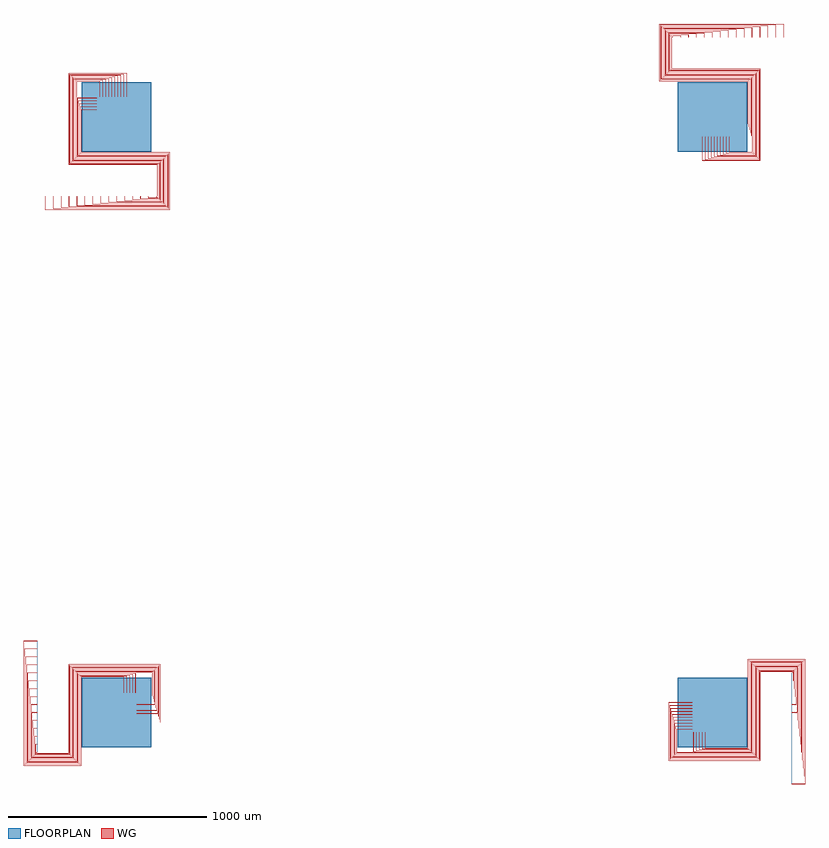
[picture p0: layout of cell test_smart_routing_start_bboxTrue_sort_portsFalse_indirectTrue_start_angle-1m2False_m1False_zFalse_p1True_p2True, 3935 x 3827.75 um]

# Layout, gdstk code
import gdstk
lib = gdstk.Library(unit=1e-6, precision=1e-09)
def R(c, l, rs):  # rectangles x0, y0, x1, y1
    for r in rs: c.add(gdstk.rectangle(r[:2], r[2:], *l))
def P(c, l, *ps):  # polygons
    for p in ps: c.add(gdstk.Polygon(p, *l))
WG = (1, 0)
FLOORPLAN = (10, 0)

test_smart_routing_start = lib.new_cell('test_smart_routing_start_bboxTrue_sort_portsFalse_indirectTrue_start_angle-1m2False_m1False_zFalse_p1True_p2True')
P(test_smart_routing_start, WG, [(2949.75,2780),(2949.75,2900),(2949.95,2900),(2949.95,2780.2),(3242.3,2780.2),(3242.3,3242.3),(2795.55,3242.3),(2795.55,3404.2),(2799.95,3404.2),(2799.95,3400),(2799.75,3400),(2799.75,3404),(2795.75,3404),(2795.75,3242.5),(3242.5,3242.5),(3242.5,2780)],
  [(2950.05,2780.3),(2950.05,2900),(2950.25,2900),(2950.25,2780.5),(3242,2780.5),(3242,3242),(2795.25,3242),(2795.25,3404.5),(2800.25,3404.5),(2800.25,3400),(2800.05,3400),(2800.05,3404.3),(2795.45,3404.3),(2795.45,3242.2),(3242.2,3242.2),(3242.2,2780.3)],
  [(2964.75,2784.5),(2964.75,2900),(2964.95,2900),(2964.95,2784.7),(3237.8,2784.7),(3237.8,3237.8),(2791.05,3237.8),(2791.05,3408.7),(2839.95,3408.7),(2839.95,3400),(2839.75,3400),(2839.75,3408.5),(2791.25,3408.5),(2791.25,3238),(3238,3238),(3238,2784.5)],
  [(2965.05,2784.8),(2965.05,2900),(2965.25,2900),(2965.25,2785),(3237.5,2785),(3237.5,3237.5),(2790.75,3237.5),(2790.75,3409),(2840.25,3409),(2840.25,3400),(2840.05,3400),(2840.05,3408.8),(2790.95,3408.8),(2790.95,3237.7),(3237.7,3237.7),(3237.7,2784.8)],
  [(2979.75,2789),(2979.75,2900),(2979.95,2900),(2979.95,2789.2),(3233.3,2789.2),(3233.3,3233.3),(2786.55,3233.3),(2786.55,3413.2),(2879.95,3413.2),(2879.95,3400),(2879.75,3400),(2879.75,3413),(2786.75,3413),(2786.75,3233.5),(3233.5,3233.5),(3233.5,2789)],
  [(2980.05,2789.3),(2980.05,2900),(2980.25,2900),(2980.25,2789.5),(3233,2789.5),(3233,3233),(2786.25,3233),(2786.25,3413.5),(2880.25,3413.5),(2880.25,3400),(2880.05,3400),(2880.05,3413.3),(2786.45,3413.3),(2786.45,3233.2),(3233.2,3233.2),(3233.2,2789.3)],
  [(2994.75,2793.5),(2994.75,2900),(2994.95,2900),(2994.95,2793.7),(3228.8,2793.7),(3228.8,3228.8),(2782.05,3228.8),(2782.05,3417.7),(2919.95,3417.7),(2919.95,3400),(2919.75,3400),(2919.75,3417.5),(2782.25,3417.5),(2782.25,3229),(3229,3229),(3229,2793.5)],
  [(2995.05,2793.8),(2995.05,2900),(2995.25,2900),(2995.25,2794),(3228.5,2794),(3228.5,3228.5),(2781.75,3228.5),(2781.75,3418),(2920.25,3418),(2920.25,3400),(2920.05,3400),(2920.05,3417.8),(2781.95,3417.8),(2781.95,3228.7),(3228.7,3228.7),(3228.7,2793.8)],
  [(3009.75,2798),(3009.75,2900),(3009.95,2900),(3009.95,2798.2),(3224.3,2798.2),(3224.3,3224.3),(2777.55,3224.3),(2777.55,3422.2),(2959.95,3422.2),(2959.95,3400),(2959.75,3400),(2959.75,3422),(2777.75,3422),(2777.75,3224.5),(3224.5,3224.5),(3224.5,2798)],
  [(3010.05,2798.3),(3010.05,2900),(3010.25,2900),(3010.25,2798.5),(3224,2798.5),(3224,3224),(2777.25,3224),(2777.25,3422.5),(2960.25,3422.5),(2960.25,3400),(2960.05,3400),(2960.05,3422.3),(2777.45,3422.3),(2777.45,3224.2),(3224.2,3224.2),(3224.2,2798.3)],
  [(3024.75,2802.5),(3024.75,2900),(3024.95,2900),(3024.95,2802.7),(3219.8,2802.7),(3219.8,3219.8),(2773.05,3219.8),(2773.05,3426.7),(2999.95,3426.7),(2999.95,3400),(2999.75,3400),(2999.75,3426.5),(2773.25,3426.5),(2773.25,3220),(3220,3220),(3220,2802.5)],
  [(3025.05,2802.8),(3025.05,2900),(3025.25,2900),(3025.25,2803),(3219.5,2803),(3219.5,3219.5),(2772.75,3219.5),(2772.75,3427),(3000.25,3427),(3000.25,3400),(3000.05,3400),(3000.05,3426.8),(2772.95,3426.8),(2772.95,3219.7),(3219.7,3219.7),(3219.7,2802.8)],
  [(3039.75,2807),(3039.75,2900),(3039.95,2900),(3039.95,2807.2),(3215.3,2807.2),(3215.3,3215.3),(2768.55,3215.3),(2768.55,3431.2),(3039.95,3431.2),(3039.95,3400),(3039.75,3400),(3039.75,3431),(2768.75,3431),(2768.75,3215.5),(3215.5,3215.5),(3215.5,2807)],
  [(3040.05,2807.3),(3040.05,2900),(3040.25,2900),(3040.25,2807.5),(3215,2807.5),(3215,3215),(2768.25,3215),(2768.25,3431.5),(3040.25,3431.5),(3040.25,3400),(3040.05,3400),(3040.05,3431.3),(2768.45,3431.3),(2768.45,3215.2),(3215.2,3215.2),(3215.2,2807.3)],
  [(3054.75,2811.5),(3054.75,2900),(3054.95,2900),(3054.95,2811.7),(3210.8,2811.7),(3210.8,3210.8),(2764.05,3210.8),(2764.05,3435.7),(3079.95,3435.7),(3079.95,3400),(3079.75,3400),(3079.75,3435.5),(2764.25,3435.5),(2764.25,3211),(3211,3211),(3211,2811.5)],
  [(3055.05,2811.8),(3055.05,2900),(3055.25,2900),(3055.25,2812),(3210.5,2812),(3210.5,3210.5),(2763.75,3210.5),(2763.75,3436),(3080.25,3436),(3080.25,3400),(3080.05,3400),(3080.05,3435.8),(2763.95,3435.8),(2763.95,3210.7),(3210.7,3210.7),(3210.7,2811.8)],
  [(3069.75,2816),(3069.75,2900),(3069.95,2900),(3069.95,2816.2),(3206.3,2816.2),(3206.3,3206.3),(2759.55,3206.3),(2759.55,3440.2),(3119.95,3440.2),(3119.95,3400),(3119.75,3400),(3119.75,3440),(2759.75,3440),(2759.75,3206.5),(3206.5,3206.5),(3206.5,2816)],
  [(3070.05,2816.3),(3070.05,2900),(3070.25,2900),(3070.25,2816.5),(3206,2816.5),(3206,3206),(2759.25,3206),(2759.25,3440.5),(3120.25,3440.5),(3120.25,3400),(3120.05,3400),(3120.05,3440.3),(2759.45,3440.3),(2759.45,3206.2),(3206.2,3206.2),(3206.2,2816.3)],
  [(3084.75,2820.5),(3084.75,2900),(3084.95,2900),(3084.95,2820.7),(3201.8,2820.7),(3201.8,3201.8),(2755.05,3201.8),(2755.05,3444.7),(3159.95,3444.7),(3159.95,3400),(3159.75,3400),(3159.75,3444.5),(2755.25,3444.5),(2755.25,3202),(3202,3202),(3202,2820.5)],
  [(3085.05,2820.8),(3085.05,2900),(3085.25,2900),(3085.25,2821),(3201.5,2821),(3201.5,3201.5),(2754.75,3201.5),(2754.75,3445),(3160.25,3445),(3160.25,3400),(3160.05,3400),(3160.05,3444.8),(2754.95,3444.8),(2754.95,3201.7),(3201.7,3201.7),(3201.7,2820.8)],
  [(3100,2964.75),(3100,2964.95),(3179.3,2964.95),(3179.3,3179.3),(2732.55,3179.3),(2732.55,3467.2),(3359.95,3467.2),(3359.95,3400),(3359.75,3400),(3359.75,3467),(2732.75,3467),(2732.75,3179.5),(3179.5,3179.5),(3179.5,2964.75)],
  [(3100,2965.05),(3100,2965.25),(3179,2965.25),(3179,3179),(2732.25,3179),(2732.25,3467.5),(3360.25,3467.5),(3360.25,3400),(3360.05,3400),(3360.05,3467.3),(2732.45,3467.3),(2732.45,3179.2),(3179.2,3179.2),(3179.2,2965.05)],
  [(3100,2949.75),(3100,2949.95),(3183.8,2949.95),(3183.8,3183.8),(2737.05,3183.8),(2737.05,3462.7),(3319.95,3462.7),(3319.95,3400),(3319.75,3400),(3319.75,3462.5),(2737.25,3462.5),(2737.25,3184),(3184,3184),(3184,2949.75)],
  [(3100,2950.05),(3100,2950.25),(3183.5,2950.25),(3183.5,3183.5),(2736.75,3183.5),(2736.75,3463),(3320.25,3463),(3320.25,3400),(3320.05,3400),(3320.05,3462.8),(2736.95,3462.8),(2736.95,3183.7),(3183.7,3183.7),(3183.7,2950.05)],
  [(3100,2934.75),(3100,2934.95),(3188.3,2934.95),(3188.3,3188.3),(2741.55,3188.3),(2741.55,3458.2),(3279.95,3458.2),(3279.95,3400),(3279.75,3400),(3279.75,3458),(2741.75,3458),(2741.75,3188.5),(3188.5,3188.5),(3188.5,2934.75)],
  [(3100,2935.05),(3100,2935.25),(3188,2935.25),(3188,3188),(2741.25,3188),(2741.25,3458.5),(3280.25,3458.5),(3280.25,3400),(3280.05,3400),(3280.05,3458.3),(2741.45,3458.3),(2741.45,3188.2),(3188.2,3188.2),(3188.2,2935.05)],
  [(3100,2919.75),(3100,2919.95),(3192.8,2919.95),(3192.8,3192.8),(2746.05,3192.8),(2746.05,3453.7),(3239.95,3453.7),(3239.95,3400),(3239.75,3400),(3239.75,3453.5),(2746.25,3453.5),(2746.25,3193),(3193,3193),(3193,2919.75)],
  [(3100,2920.05),(3100,2920.25),(3192.5,2920.25),(3192.5,3192.5),(2745.75,3192.5),(2745.75,3454),(3240.25,3454),(3240.25,3400),(3240.05,3400),(3240.05,3453.8),(2745.95,3453.8),(2745.95,3192.7),(3192.7,3192.7),(3192.7,2920.05)],
  [(3100,2904.75),(3100,2904.95),(3197.3,2904.95),(3197.3,3197.3),(2750.55,3197.3),(2750.55,3449.2),(3199.95,3449.2),(3199.95,3400),(3199.75,3400),(3199.75,3449),(2750.75,3449),(2750.75,3197.5),(3197.5,3197.5),(3197.5,2904.75)],
  [(3100,2905.05),(3100,2905.25),(3197,2905.25),(3197,3197),(2750.25,3197),(2750.25,3449.5),(3200.25,3449.5),(3200.25,3400),(3200.05,3400),(3200.05,3449.3),(2750.45,3449.3),(2750.45,3197.2),(3197.2,3197.2),(3197.2,2905.05)],
  [(199.75,2595.5),(199.75,2600),(199.95,2600),(199.95,2595.7),(204.55,2595.7),(204.55,2757.8),(-242.2,2757.8),(-242.2,3219.7),(49.95,3219.7),(49.95,3100),(49.75,3100),(49.75,3219.5),(-242,3219.5),(-242,2758),(204.75,2758),(204.75,2595.5)],
  [(200.05,2595.8),(200.05,2600),(200.25,2600),(200.25,2596),(204.25,2596),(204.25,2757.5),(-242.5,2757.5),(-242.5,3220),(50.25,3220),(50.25,3100),(50.05,3100),(50.05,3219.8),(-242.3,3219.8),(-242.3,2757.7),(204.45,2757.7),(204.45,2595.8)],
  [(159.75,2591),(159.75,2600),(159.95,2600),(159.95,2591.2),(209.05,2591.2),(209.05,2762.3),(-237.7,2762.3),(-237.7,3215.2),(34.95,3215.2),(34.95,3100),(34.75,3100),(34.75,3215),(-237.5,3215),(-237.5,2762.5),(209.25,2762.5),(209.25,2591)],
  [(160.05,2591.3),(160.05,2600),(160.25,2600),(160.25,2591.5),(208.75,2591.5),(208.75,2762),(-238,2762),(-238,3215.5),(35.25,3215.5),(35.25,3100),(35.05,3100),(35.05,3215.3),(-237.8,3215.3),(-237.8,2762.2),(208.95,2762.2),(208.95,2591.3)],
  [(119.75,2586.5),(119.75,2600),(119.95,2600),(119.95,2586.7),(213.55,2586.7),(213.55,2766.8),(-233.2,2766.8),(-233.2,3210.7),(19.95,3210.7),(19.95,3100),(19.75,3100),(19.75,3210.5),(-233,3210.5),(-233,2767),(213.75,2767),(213.75,2586.5)],
  [(120.05,2586.8),(120.05,2600),(120.25,2600),(120.25,2587),(213.25,2587),(213.25,2766.5),(-233.5,2766.5),(-233.5,3211),(20.25,3211),(20.25,3100),(20.05,3100),(20.05,3210.8),(-233.3,3210.8),(-233.3,2766.7),(213.45,2766.7),(213.45,2586.8)],
  [(79.75,2582),(79.75,2600),(79.95,2600),(79.95,2582.2),(218.05,2582.2),(218.05,2771.3),(-228.7,2771.3),(-228.7,3206.2),(4.95,3206.2),(4.95,3100),(4.75,3100),(4.75,3206),(-228.5,3206),(-228.5,2771.5),(218.25,2771.5),(218.25,2582)],
  [(80.05,2582.3),(80.05,2600),(80.25,2600),(80.25,2582.5),(217.75,2582.5),(217.75,2771),(-229,2771),(-229,3206.5),(5.25,3206.5),(5.25,3100),(5.05,3100),(5.05,3206.3),(-228.8,3206.3),(-228.8,2771.2),(217.95,2771.2),(217.95,2582.3)],
  [(39.75,2577.5),(39.75,2600),(39.95,2600),(39.95,2577.7),(222.55,2577.7),(222.55,2775.8),(-224.2,2775.8),(-224.2,3201.7),(-10.05,3201.7),(-10.05,3100),(-10.25,3100),(-10.25,3201.5),(-224,3201.5),(-224,2776),(222.75,2776),(222.75,2577.5)],
  [(40.05,2577.8),(40.05,2600),(40.25,2600),(40.25,2578),(222.25,2578),(222.25,2775.5),(-224.5,2775.5),(-224.5,3202),(-9.75,3202),(-9.75,3100),(-9.95,3100),(-9.95,3201.8),(-224.3,3201.8),(-224.3,2775.7),(222.45,2775.7),(222.45,2577.8)],
  [(-0.25,2573),(-0.25,2600),(-0.05,2600),(-0.05,2573.2),(227.05,2573.2),(227.05,2780.3),(-219.7,2780.3),(-219.7,3197.2),(-25.05,3197.2),(-25.05,3100),(-25.25,3100),(-25.25,3197),(-219.5,3197),(-219.5,2780.5),(227.25,2780.5),(227.25,2573)],
  [(0.05,2573.3),(0.05,2600),(0.25,2600),(0.25,2573.5),(226.75,2573.5),(226.75,2780),(-220,2780),(-220,3197.5),(-24.75,3197.5),(-24.75,3100),(-24.95,3100),(-24.95,3197.3),(-219.8,3197.3),(-219.8,2780.2),(226.95,2780.2),(226.95,2573.3)],
  [(-40.25,2568.5),(-40.25,2600),(-40.05,2600),(-40.05,2568.7),(231.55,2568.7),(231.55,2784.8),(-215.2,2784.8),(-215.2,3192.7),(-40.05,3192.7),(-40.05,3100),(-40.25,3100),(-40.25,3192.5),(-215,3192.5),(-215,2785),(231.75,2785),(231.75,2568.5)],
  [(-39.95,2568.8),(-39.95,2600),(-39.75,2600),(-39.75,2569),(231.25,2569),(231.25,2784.5),(-215.5,2784.5),(-215.5,3193),(-39.75,3193),(-39.75,3100),(-39.95,3100),(-39.95,3192.8),(-215.3,3192.8),(-215.3,2784.7),(231.45,2784.7),(231.45,2568.8)],
  [(-80.25,2564),(-80.25,2600),(-80.05,2600),(-80.05,2564.2),(236.05,2564.2),(236.05,2789.3),(-210.7,2789.3),(-210.7,3188.2),(-55.05,3188.2),(-55.05,3100),(-55.25,3100),(-55.25,3188),(-210.5,3188),(-210.5,2789.5),(236.25,2789.5),(236.25,2564)],
  [(-79.95,2564.3),(-79.95,2600),(-79.75,2600),(-79.75,2564.5),(235.75,2564.5),(235.75,2789),(-211,2789),(-211,3188.5),(-54.75,3188.5),(-54.75,3100),(-54.95,3100),(-54.95,3188.3),(-210.8,3188.3),(-210.8,2789.2),(235.95,2789.2),(235.95,2564.3)],
  [(-120.25,2559.5),(-120.25,2600),(-120.05,2600),(-120.05,2559.7),(240.55,2559.7),(240.55,2793.8),(-206.2,2793.8),(-206.2,3183.7),(-70.05,3183.7),(-70.05,3100),(-70.25,3100),(-70.25,3183.5),(-206,3183.5),(-206,2794),(240.75,2794),(240.75,2559.5)],
  [(-119.95,2559.8),(-119.95,2600),(-119.75,2600),(-119.75,2560),(240.25,2560),(240.25,2793.5),(-206.5,2793.5),(-206.5,3184),(-69.75,3184),(-69.75,3100),(-69.95,3100),(-69.95,3183.8),(-206.3,3183.8),(-206.3,2793.7),(240.45,2793.7),(240.45,2559.8)],
  [(-160.25,2555),(-160.25,2600),(-160.05,2600),(-160.05,2555.2),(245.05,2555.2),(245.05,2798.3),(-201.7,2798.3),(-201.7,3179.2),(-85.05,3179.2),(-85.05,3100),(-85.25,3100),(-85.25,3179),(-201.5,3179),(-201.5,2798.5),(245.25,2798.5),(245.25,2555)],
  [(-159.95,2555.3),(-159.95,2600),(-159.75,2600),(-159.75,2555.5),(244.75,2555.5),(244.75,2798),(-202,2798),(-202,3179.5),(-84.75,3179.5),(-84.75,3100),(-84.95,3100),(-84.95,3179.3),(-201.8,3179.3),(-201.8,2798.2),(244.95,2798.2),(244.95,2555.3)],
  [(-360.25,2532.5),(-360.25,2600),(-360.05,2600),(-360.05,2532.7),(267.55,2532.7),(267.55,2820.8),(-179.2,2820.8),(-179.2,3034.95),(-100,3034.95),(-100,3034.75),(-179,3034.75),(-179,2821),(267.75,2821),(267.75,2532.5)],
  [(-359.95,2532.8),(-359.95,2600),(-359.75,2600),(-359.75,2533),(267.25,2533),(267.25,2820.5),(-179.5,2820.5),(-179.5,3035.25),(-100,3035.25),(-100,3035.05),(-179.3,3035.05),(-179.3,2820.7),(267.45,2820.7),(267.45,2532.8)],
  [(-320.25,2537),(-320.25,2600),(-320.05,2600),(-320.05,2537.2),(263.05,2537.2),(263.05,2816.3),(-183.7,2816.3),(-183.7,3049.95),(-100,3049.95),(-100,3049.75),(-183.5,3049.75),(-183.5,2816.5),(263.25,2816.5),(263.25,2537)],
  [(-319.95,2537.3),(-319.95,2600),(-319.75,2600),(-319.75,2537.5),(262.75,2537.5),(262.75,2816),(-184,2816),(-184,3050.25),(-100,3050.25),(-100,3050.05),(-183.8,3050.05),(-183.8,2816.2),(262.95,2816.2),(262.95,2537.3)],
  [(-280.25,2541.5),(-280.25,2600),(-280.05,2600),(-280.05,2541.7),(258.55,2541.7),(258.55,2811.8),(-188.2,2811.8),(-188.2,3064.95),(-100,3064.95),(-100,3064.75),(-188,3064.75),(-188,2812),(258.75,2812),(258.75,2541.5)],
  [(-279.95,2541.8),(-279.95,2600),(-279.75,2600),(-279.75,2542),(258.25,2542),(258.25,2811.5),(-188.5,2811.5),(-188.5,3065.25),(-100,3065.25),(-100,3065.05),(-188.3,3065.05),(-188.3,2811.7),(258.45,2811.7),(258.45,2541.8)],
  [(-240.25,2546),(-240.25,2600),(-240.05,2600),(-240.05,2546.2),(254.05,2546.2),(254.05,2807.3),(-192.7,2807.3),(-192.7,3079.95),(-100,3079.95),(-100,3079.75),(-192.5,3079.75),(-192.5,2807.5),(254.25,2807.5),(254.25,2546)],
  [(-239.95,2546.3),(-239.95,2600),(-239.75,2600),(-239.75,2546.5),(253.75,2546.5),(253.75,2807),(-193,2807),(-193,3080.25),(-100,3080.25),(-100,3080.05),(-192.8,3080.05),(-192.8,2807.2),(253.95,2807.2),(253.95,2546.3)],
  [(-200.25,2550.5),(-200.25,2600),(-200.05,2600),(-200.05,2550.7),(249.55,2550.7),(249.55,2802.8),(-197.2,2802.8),(-197.2,3094.95),(-100,3094.95),(-100,3094.75),(-197,3094.75),(-197,2803),(249.75,2803),(249.75,2550.5)],
  [(-199.95,2550.8),(-199.95,2600),(-199.75,2600),(-199.75,2551),(249.25,2551),(249.25,2802.5),(-197.5,2802.5),(-197.5,3095.25),(-100,3095.25),(-100,3095.05),(-197.3,3095.05),(-197.3,2802.7),(249.45,2802.7),(249.45,2550.8)],
  [(-404.5,-204.75),(-404.5,-199.75),(-400,-199.75),(-400,-199.95),(-404.3,-199.95),(-404.3,-204.55),(-242.2,-204.55),(-242.2,242.2),(219.7,242.2),(219.7,-49.95),(100,-49.95),(100,-49.75),(219.5,-49.75),(219.5,242),(-242,242),(-242,-204.75)],
  [(-404.2,-204.45),(-404.2,-200.05),(-400,-200.05),(-400,-200.25),(-404,-200.25),(-404,-204.25),(-242.5,-204.25),(-242.5,242.5),(220,242.5),(220,-50.25),(100,-50.25),(100,-50.05),(219.8,-50.05),(219.8,242.3),(-242.3,242.3),(-242.3,-204.45)],
  [(-409,-209.25),(-409,-159.75),(-400,-159.75),(-400,-159.95),(-408.8,-159.95),(-408.8,-209.05),(-237.7,-209.05),(-237.7,237.7),(215.2,237.7),(215.2,-34.95),(100,-34.95),(100,-34.75),(215,-34.75),(215,237.5),(-237.5,237.5),(-237.5,-209.25)],
  [(-408.7,-208.95),(-408.7,-160.05),(-400,-160.05),(-400,-160.25),(-408.5,-160.25),(-408.5,-208.75),(-238,-208.75),(-238,238),(215.5,238),(215.5,-35.25),(100,-35.25),(100,-35.05),(215.3,-35.05),(215.3,237.8),(-237.8,237.8),(-237.8,-208.95)],
  [(-413.5,-213.75),(-413.5,-119.75),(-400,-119.75),(-400,-119.95),(-413.3,-119.95),(-413.3,-213.55),(-233.2,-213.55),(-233.2,233.2),(210.7,233.2),(210.7,-19.95),(100,-19.95),(100,-19.75),(210.5,-19.75),(210.5,233),(-233,233),(-233,-213.75)],
  [(-413.2,-213.45),(-413.2,-120.05),(-400,-120.05),(-400,-120.25),(-413,-120.25),(-413,-213.25),(-233.5,-213.25),(-233.5,233.5),(211,233.5),(211,-20.25),(100,-20.25),(100,-20.05),(210.8,-20.05),(210.8,233.3),(-233.3,233.3),(-233.3,-213.45)],
  [(-418,-218.25),(-418,-79.75),(-400,-79.75),(-400,-79.95),(-417.8,-79.95),(-417.8,-218.05),(-228.7,-218.05),(-228.7,228.7),(206.2,228.7),(206.2,-4.95),(100,-4.95),(100,-4.75),(206,-4.75),(206,228.5),(-228.5,228.5),(-228.5,-218.25)],
  [(-417.7,-217.95),(-417.7,-80.05),(-400,-80.05),(-400,-80.25),(-417.5,-80.25),(-417.5,-217.75),(-229,-217.75),(-229,229),(206.5,229),(206.5,-5.25),(100,-5.25),(100,-5.05),(206.3,-5.05),(206.3,228.8),(-228.8,228.8),(-228.8,-217.95)],
  [(-422.5,-222.75),(-422.5,-39.75),(-400,-39.75),(-400,-39.95),(-422.3,-39.95),(-422.3,-222.55),(-224.2,-222.55),(-224.2,224.2),(201.7,224.2),(201.7,10.05),(100,10.05),(100,10.25),(201.5,10.25),(201.5,224),(-224,224),(-224,-222.75)],
  [(-422.2,-222.45),(-422.2,-40.05),(-400,-40.05),(-400,-40.25),(-422,-40.25),(-422,-222.25),(-224.5,-222.25),(-224.5,224.5),(202,224.5),(202,9.75),(100,9.75),(100,9.95),(201.8,9.95),(201.8,224.3),(-224.3,224.3),(-224.3,-222.45)],
  [(-427,-227.25),(-427,0.25),(-400,0.25),(-400,0.05),(-426.8,0.05),(-426.8,-227.05),(-219.7,-227.05),(-219.7,219.7),(197.2,219.7),(197.2,25.05),(100,25.05),(100,25.25),(197,25.25),(197,219.5),(-219.5,219.5),(-219.5,-227.25)],
  [(-426.7,-226.95),(-426.7,-0.05),(-400,-0.05),(-400,-0.25),(-426.5,-0.25),(-426.5,-226.75),(-220,-226.75),(-220,220),(197.5,220),(197.5,24.75),(100,24.75),(100,24.95),(197.3,24.95),(197.3,219.8),(-219.8,219.8),(-219.8,-226.95)],
  [(-431.5,-231.75),(-431.5,40.25),(-400,40.25),(-400,40.05),(-431.3,40.05),(-431.3,-231.55),(-215.2,-231.55),(-215.2,215.2),(192.7,215.2),(192.7,40.05),(100,40.05),(100,40.25),(192.5,40.25),(192.5,215),(-215,215),(-215,-231.75)],
  [(-431.2,-231.45),(-431.2,39.95),(-400,39.95),(-400,39.75),(-431,39.75),(-431,-231.25),(-215.5,-231.25),(-215.5,215.5),(193,215.5),(193,39.75),(100,39.75),(100,39.95),(192.8,39.95),(192.8,215.3),(-215.3,215.3),(-215.3,-231.45)],
  [(-436,-236.25),(-436,80.25),(-400,80.25),(-400,80.05),(-435.8,80.05),(-435.8,-236.05),(-210.7,-236.05),(-210.7,210.7),(188.2,210.7),(188.2,55.05),(100,55.05),(100,55.25),(188,55.25),(188,210.5),(-210.5,210.5),(-210.5,-236.25)],
  [(-435.7,-235.95),(-435.7,79.95),(-400,79.95),(-400,79.75),(-435.5,79.75),(-435.5,-235.75),(-211,-235.75),(-211,211),(188.5,211),(188.5,54.75),(100,54.75),(100,54.95),(188.3,54.95),(188.3,210.8),(-210.8,210.8),(-210.8,-235.95)],
  [(-440.5,-240.75),(-440.5,120.25),(-400,120.25),(-400,120.05),(-440.3,120.05),(-440.3,-240.55),(-206.2,-240.55),(-206.2,206.2),(183.7,206.2),(183.7,70.05),(100,70.05),(100,70.25),(183.5,70.25),(183.5,206),(-206,206),(-206,-240.75)],
  [(-440.2,-240.45),(-440.2,119.95),(-400,119.95),(-400,119.75),(-440,119.75),(-440,-240.25),(-206.5,-240.25),(-206.5,206.5),(184,206.5),(184,69.75),(100,69.75),(100,69.95),(183.8,69.95),(183.8,206.3),(-206.3,206.3),(-206.3,-240.45)],
  [(-445,-245.25),(-445,160.25),(-400,160.25),(-400,160.05),(-444.8,160.05),(-444.8,-245.05),(-201.7,-245.05),(-201.7,201.7),(179.2,201.7),(179.2,85.05),(100,85.05),(100,85.25),(179,85.25),(179,201.5),(-201.5,201.5),(-201.5,-245.25)],
  [(-444.7,-244.95),(-444.7,159.95),(-400,159.95),(-400,159.75),(-444.5,159.75),(-444.5,-244.75),(-202,-244.75),(-202,202),(179.5,202),(179.5,84.75),(100,84.75),(100,84.95),(179.3,84.95),(179.3,201.8),(-201.8,201.8),(-201.8,-244.95)],
  [(-467.2,-267.45),(-467.2,359.95),(-400,359.95),(-400,359.75),(-467,359.75),(-467,-267.25),(-179.5,-267.25),(-179.5,179.5),(35.25,179.5),(35.25,100),(35.05,100),(35.05,179.3),(-179.3,179.3),(-179.3,-267.45)],
  [(-467.5,-267.75),(-467.5,360.25),(-400,360.25),(-400,360.05),(-467.3,360.05),(-467.3,-267.55),(-179.2,-267.55),(-179.2,179.2),(34.95,179.2),(34.95,100),(34.75,100),(34.75,179),(-179,179),(-179,-267.75)],
  [(-462.7,-262.95),(-462.7,319.95),(-400,319.95),(-400,319.75),(-462.5,319.75),(-462.5,-262.75),(-184,-262.75),(-184,184),(50.25,184),(50.25,100),(50.05,100),(50.05,183.8),(-183.8,183.8),(-183.8,-262.95)],
  [(-463,-263.25),(-463,320.25),(-400,320.25),(-400,320.05),(-462.8,320.05),(-462.8,-263.05),(-183.7,-263.05),(-183.7,183.7),(49.95,183.7),(49.95,100),(49.75,100),(49.75,183.5),(-183.5,183.5),(-183.5,-263.25)],
  [(-458.2,-258.45),(-458.2,279.95),(-400,279.95),(-400,279.75),(-458,279.75),(-458,-258.25),(-188.5,-258.25),(-188.5,188.5),(65.25,188.5),(65.25,100),(65.05,100),(65.05,188.3),(-188.3,188.3),(-188.3,-258.45)],
  [(-458.5,-258.75),(-458.5,280.25),(-400,280.25),(-400,280.05),(-458.3,280.05),(-458.3,-258.55),(-188.2,-258.55),(-188.2,188.2),(64.95,188.2),(64.95,100),(64.75,100),(64.75,188),(-188,188),(-188,-258.75)],
  [(-453.7,-253.95),(-453.7,239.95),(-400,239.95),(-400,239.75),(-453.5,239.75),(-453.5,-253.75),(-193,-253.75),(-193,193),(80.25,193),(80.25,100),(80.05,100),(80.05,192.8),(-192.8,192.8),(-192.8,-253.95)],
  [(-454,-254.25),(-454,240.25),(-400,240.25),(-400,240.05),(-453.8,240.05),(-453.8,-254.05),(-192.7,-254.05),(-192.7,192.7),(79.95,192.7),(79.95,100),(79.75,100),(79.75,192.5),(-192.5,192.5),(-192.5,-254.25)],
  [(-449.2,-249.45),(-449.2,199.95),(-400,199.95),(-400,199.75),(-449,199.75),(-449,-249.25),(-197.5,-249.25),(-197.5,197.5),(95.25,197.5),(95.25,100),(95.05,100),(95.05,197.3),(-197.3,197.3),(-197.3,-249.45)],
  [(-449.5,-249.75),(-449.5,200.25),(-400,200.25),(-400,200.05),(-449.3,200.05),(-449.3,-249.55),(-197.2,-249.55),(-197.2,197.2),(94.95,197.2),(94.95,100),(94.75,100),(94.75,197),(-197,197),(-197,-249.75)],
  [(2780,-242.5),(2780,50.25),(2900,50.25),(2900,50.05),(2780.2,50.05),(2780.2,-242.3),(3242.3,-242.3),(3242.3,204.45),(3404.2,204.45),(3404.2,200.05),(3400,200.05),(3400,200.25),(3404,200.25),(3404,204.25),(3242.5,204.25),(3242.5,-242.5)],
  [(2780.3,-242.2),(2780.3,49.95),(2900,49.95),(2900,49.75),(2780.5,49.75),(2780.5,-242),(3242,-242),(3242,204.75),(3404.5,204.75),(3404.5,199.75),(3400,199.75),(3400,199.95),(3404.3,199.95),(3404.3,204.55),(3242.2,204.55),(3242.2,-242.2)],
  [(2784.5,-238),(2784.5,35.25),(2900,35.25),(2900,35.05),(2784.7,35.05),(2784.7,-237.8),(3237.8,-237.8),(3237.8,208.95),(3408.7,208.95),(3408.7,160.05),(3400,160.05),(3400,160.25),(3408.5,160.25),(3408.5,208.75),(3238,208.75),(3238,-238)],
  [(2784.8,-237.7),(2784.8,34.95),(2900,34.95),(2900,34.75),(2785,34.75),(2785,-237.5),(3237.5,-237.5),(3237.5,209.25),(3409,209.25),(3409,159.75),(3400,159.75),(3400,159.95),(3408.8,159.95),(3408.8,209.05),(3237.7,209.05),(3237.7,-237.7)],
  [(2789,-233.5),(2789,20.25),(2900,20.25),(2900,20.05),(2789.2,20.05),(2789.2,-233.3),(3233.3,-233.3),(3233.3,213.45),(3413.2,213.45),(3413.2,120.05),(3400,120.05),(3400,120.25),(3413,120.25),(3413,213.25),(3233.5,213.25),(3233.5,-233.5)],
  [(2789.3,-233.2),(2789.3,19.95),(2900,19.95),(2900,19.75),(2789.5,19.75),(2789.5,-233),(3233,-233),(3233,213.75),(3413.5,213.75),(3413.5,119.75),(3400,119.75),(3400,119.95),(3413.3,119.95),(3413.3,213.55),(3233.2,213.55),(3233.2,-233.2)],
  [(2793.5,-229),(2793.5,5.25),(2900,5.25),(2900,5.05),(2793.7,5.05),(2793.7,-228.8),(3228.8,-228.8),(3228.8,217.95),(3417.7,217.95),(3417.7,80.05),(3400,80.05),(3400,80.25),(3417.5,80.25),(3417.5,217.75),(3229,217.75),(3229,-229)],
  [(2793.8,-228.7),(2793.8,4.95),(2900,4.95),(2900,4.75),(2794,4.75),(2794,-228.5),(3228.5,-228.5),(3228.5,218.25),(3418,218.25),(3418,79.75),(3400,79.75),(3400,79.95),(3417.8,79.95),(3417.8,218.05),(3228.7,218.05),(3228.7,-228.7)],
  [(2798,-224.5),(2798,-9.75),(2900,-9.75),(2900,-9.95),(2798.2,-9.95),(2798.2,-224.3),(3224.3,-224.3),(3224.3,222.45),(3422.2,222.45),(3422.2,40.05),(3400,40.05),(3400,40.25),(3422,40.25),(3422,222.25),(3224.5,222.25),(3224.5,-224.5)],
  [(2798.3,-224.2),(2798.3,-10.05),(2900,-10.05),(2900,-10.25),(2798.5,-10.25),(2798.5,-224),(3224,-224),(3224,222.75),(3422.5,222.75),(3422.5,39.75),(3400,39.75),(3400,39.95),(3422.3,39.95),(3422.3,222.55),(3224.2,222.55),(3224.2,-224.2)],
  [(2802.5,-220),(2802.5,-24.75),(2900,-24.75),(2900,-24.95),(2802.7,-24.95),(2802.7,-219.8),(3219.8,-219.8),(3219.8,226.95),(3426.7,226.95),(3426.7,0.05),(3400,0.05),(3400,0.25),(3426.5,0.25),(3426.5,226.75),(3220,226.75),(3220,-220)],
  [(2802.8,-219.7),(2802.8,-25.05),(2900,-25.05),(2900,-25.25),(2803,-25.25),(2803,-219.5),(3219.5,-219.5),(3219.5,227.25),(3427,227.25),(3427,-0.25),(3400,-0.25),(3400,-0.05),(3426.8,-0.05),(3426.8,227.05),(3219.7,227.05),(3219.7,-219.7)],
  [(2807,-215.5),(2807,-39.75),(2900,-39.75),(2900,-39.95),(2807.2,-39.95),(2807.2,-215.3),(3215.3,-215.3),(3215.3,231.45),(3431.2,231.45),(3431.2,-39.95),(3400,-39.95),(3400,-39.75),(3431,-39.75),(3431,231.25),(3215.5,231.25),(3215.5,-215.5)],
  [(2807.3,-215.2),(2807.3,-40.05),(2900,-40.05),(2900,-40.25),(2807.5,-40.25),(2807.5,-215),(3215,-215),(3215,231.75),(3431.5,231.75),(3431.5,-40.25),(3400,-40.25),(3400,-40.05),(3431.3,-40.05),(3431.3,231.55),(3215.2,231.55),(3215.2,-215.2)],
  [(2811.5,-211),(2811.5,-54.75),(2900,-54.75),(2900,-54.95),(2811.7,-54.95),(2811.7,-210.8),(3210.8,-210.8),(3210.8,235.95),(3435.7,235.95),(3435.7,-79.95),(3400,-79.95),(3400,-79.75),(3435.5,-79.75),(3435.5,235.75),(3211,235.75),(3211,-211)],
  [(2811.8,-210.7),(2811.8,-55.05),(2900,-55.05),(2900,-55.25),(2812,-55.25),(2812,-210.5),(3210.5,-210.5),(3210.5,236.25),(3436,236.25),(3436,-80.25),(3400,-80.25),(3400,-80.05),(3435.8,-80.05),(3435.8,236.05),(3210.7,236.05),(3210.7,-210.7)],
  [(2816,-206.5),(2816,-69.75),(2900,-69.75),(2900,-69.95),(2816.2,-69.95),(2816.2,-206.3),(3206.3,-206.3),(3206.3,240.45),(3440.2,240.45),(3440.2,-119.95),(3400,-119.95),(3400,-119.75),(3440,-119.75),(3440,240.25),(3206.5,240.25),(3206.5,-206.5)],
  [(2816.3,-206.2),(2816.3,-70.05),(2900,-70.05),(2900,-70.25),(2816.5,-70.25),(2816.5,-206),(3206,-206),(3206,240.75),(3440.5,240.75),(3440.5,-120.25),(3400,-120.25),(3400,-120.05),(3440.3,-120.05),(3440.3,240.55),(3206.2,240.55),(3206.2,-206.2)],
  [(2820.5,-202),(2820.5,-84.75),(2900,-84.75),(2900,-84.95),(2820.7,-84.95),(2820.7,-201.8),(3201.8,-201.8),(3201.8,244.95),(3444.7,244.95),(3444.7,-159.95),(3400,-159.95),(3400,-159.75),(3444.5,-159.75),(3444.5,244.75),(3202,244.75),(3202,-202)],
  [(2820.8,-201.7),(2820.8,-85.05),(2900,-85.05),(2900,-85.25),(2821,-85.25),(2821,-201.5),(3201.5,-201.5),(3201.5,245.25),(3445,245.25),(3445,-160.25),(3400,-160.25),(3400,-160.05),(3444.8,-160.05),(3444.8,245.05),(3201.7,245.05),(3201.7,-201.7)],
  [(3400,-359.95),(3400,-359.75),(3467,-359.75),(3467,267.25),(3179.5,267.25),(3179.5,-179.5),(2964.75,-179.5),(2964.75,-100),(2964.95,-100),(2964.95,-179.3),(3179.3,-179.3),(3179.3,267.45),(3467.2,267.45),(3467.2,-359.95)],
  [(3400,-360.25),(3400,-360.05),(3467.3,-360.05),(3467.3,267.55),(3179.2,267.55),(3179.2,-179.2),(2965.05,-179.2),(2965.05,-100),(2965.25,-100),(2965.25,-179),(3179,-179),(3179,267.75),(3467.5,267.75),(3467.5,-360.25)],
  [(3400,-319.95),(3400,-319.75),(3462.5,-319.75),(3462.5,262.75),(3184,262.75),(3184,-184),(2949.75,-184),(2949.75,-100),(2949.95,-100),(2949.95,-183.8),(3183.8,-183.8),(3183.8,262.95),(3462.7,262.95),(3462.7,-319.95)],
  [(3400,-320.25),(3400,-320.05),(3462.8,-320.05),(3462.8,263.05),(3183.7,263.05),(3183.7,-183.7),(2950.05,-183.7),(2950.05,-100),(2950.25,-100),(2950.25,-183.5),(3183.5,-183.5),(3183.5,263.25),(3463,263.25),(3463,-320.25)],
  [(3400,-279.95),(3400,-279.75),(3458,-279.75),(3458,258.25),(3188.5,258.25),(3188.5,-188.5),(2934.75,-188.5),(2934.75,-100),(2934.95,-100),(2934.95,-188.3),(3188.3,-188.3),(3188.3,258.45),(3458.2,258.45),(3458.2,-279.95)],
  [(3400,-280.25),(3400,-280.05),(3458.3,-280.05),(3458.3,258.55),(3188.2,258.55),(3188.2,-188.2),(2935.05,-188.2),(2935.05,-100),(2935.25,-100),(2935.25,-188),(3188,-188),(3188,258.75),(3458.5,258.75),(3458.5,-280.25)],
  [(3400,-239.95),(3400,-239.75),(3453.5,-239.75),(3453.5,253.75),(3193,253.75),(3193,-193),(2919.75,-193),(2919.75,-100),(2919.95,-100),(2919.95,-192.8),(3192.8,-192.8),(3192.8,253.95),(3453.7,253.95),(3453.7,-239.95)],
  [(3400,-240.25),(3400,-240.05),(3453.8,-240.05),(3453.8,254.05),(3192.7,254.05),(3192.7,-192.7),(2920.05,-192.7),(2920.05,-100),(2920.25,-100),(2920.25,-192.5),(3192.5,-192.5),(3192.5,254.25),(3454,254.25),(3454,-240.25)],
  [(3400,-199.95),(3400,-199.75),(3449,-199.75),(3449,249.25),(3197.5,249.25),(3197.5,-197.5),(2904.75,-197.5),(2904.75,-100),(2904.95,-100),(2904.95,-197.3),(3197.3,-197.3),(3197.3,249.45),(3449.2,249.45),(3449.2,-199.95)],
  [(3400,-200.25),(3400,-200.05),(3449.3,-200.05),(3449.3,249.55),(3197.2,249.55),(3197.2,-197.2),(2905.05,-197.2),(2905.05,-100),(2905.25,-100),(2905.25,-197),(3197,-197),(3197,249.75),(3449.5,249.75),(3449.5,-200.25)])
R(test_smart_routing_start, FLOORPLAN, [(-175,-175,175,175), (2825,-175,3175,175), (-175,2825,175,3175), (2825,2825,3175,3175)])
P(test_smart_routing_start, FLOORPLAN, [(-400,-200),(-400,360),(-400,360),(-400,-200)],
  [(-360,2600),(-360,2600),(200,2600),(200,2600)],
  [(3400,-360),(3400,200),(3400,200),(3400,-360)],
  [(2800,3400),(2800,3400),(3360,3400),(3360,3400)])

lib.write_gds('test_smart_routing_start_bboxTrue_sort_portsFalse_indirectTrue_start_angle-1m2False_m1False_zFalse_p1True_p2True.gds')
